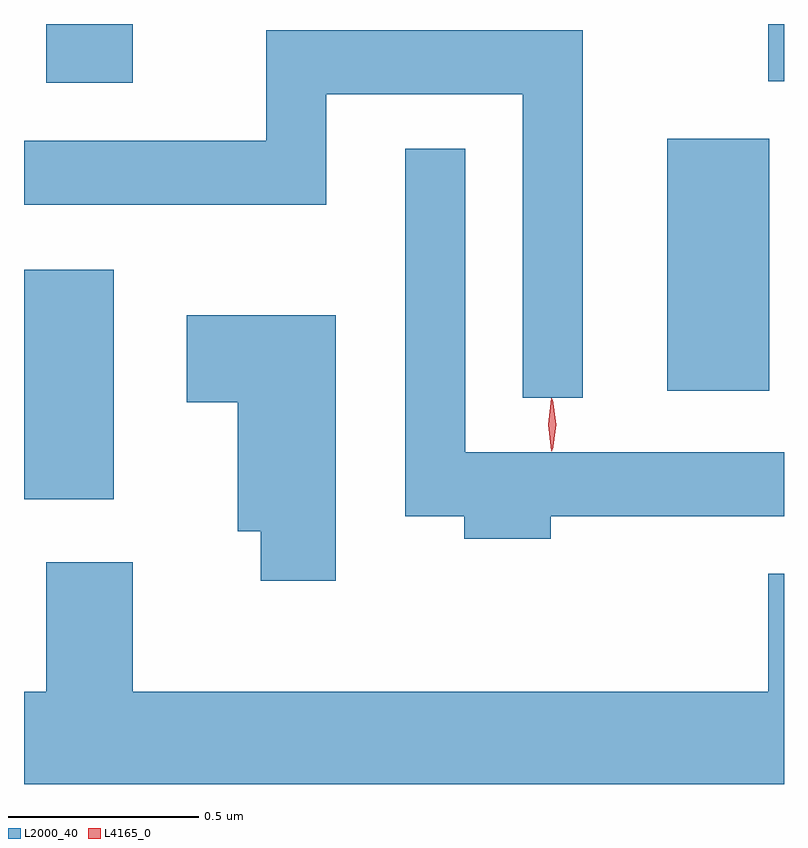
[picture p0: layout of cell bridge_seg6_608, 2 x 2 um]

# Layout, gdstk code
import gdstk
lib = gdstk.Library(unit=1e-6, precision=1e-09)
def R(c, l, rs):  # rectangles x0, y0, x1, y1
    for r in rs: c.add(gdstk.rectangle(r[:2], r[2:], *l))
def P(c, l, *ps):  # polygons
    for p in ps: c.add(gdstk.Polygon(p, *l))
L2000_40 = (2000, 40)
L4165_0 = (4165, 0)

bridge_seg6_608 = lib.new_cell('bridge_seg6_608')
R(bridge_seg6_608, L2000_40, [(440.743,1632.951,440.979,1633.554), (442.436,1633.236,442.704,1633.899), (440.801,1634.046,441.029,1634.201), (442.701,1634.051,442.743,1634.201)])
P(bridge_seg6_608, L2000_40, [(442.214,1634.184),(441.381,1634.184),(441.381,1633.894),(440.743,1633.894),(440.743,1633.726),(441.539,1633.726),(441.539,1634.016),(442.056,1634.016),(442.056,1633.218),(442.214,1633.218)],
  [(442.129,1632.906),(442.743,1632.906),(442.743,1633.074),(441.904,1633.074),(441.904,1633.873),(441.746,1633.873),(441.746,1632.906),(441.901,1632.906),(441.901,1632.846),(442.129,1632.846)],
  [(441.564,1633.434),(441.171,1633.434),(441.171,1633.206),(441.306,1633.206),(441.306,1632.866),(441.366,1632.866),(441.366,1632.736),(441.564,1632.736)],
  [(442.743,1632.754),(442.701,1632.754),(442.701,1632.444),(441.029,1632.444),(441.029,1632.784),(440.801,1632.784),(440.801,1632.444),(440.743,1632.444),(440.743,1632.201),(442.743,1632.201)])
P(bridge_seg6_608, L4165_0, [(442.132,1633.077),(442.131,1633.078),(442.122,1633.147),(442.131,1633.216),(442.132,1633.216),(442.132,1633.216),(442.142,1633.147),(442.132,1633.078)],
  [(442.135,1633.079),(442.134,1633.08),(442.125,1633.146),(442.134,1633.212),(442.134,1633.213),(442.135,1633.212),(442.144,1633.146),(442.135,1633.08)])

lib.write_gds('bridge_seg6_608.gds')
